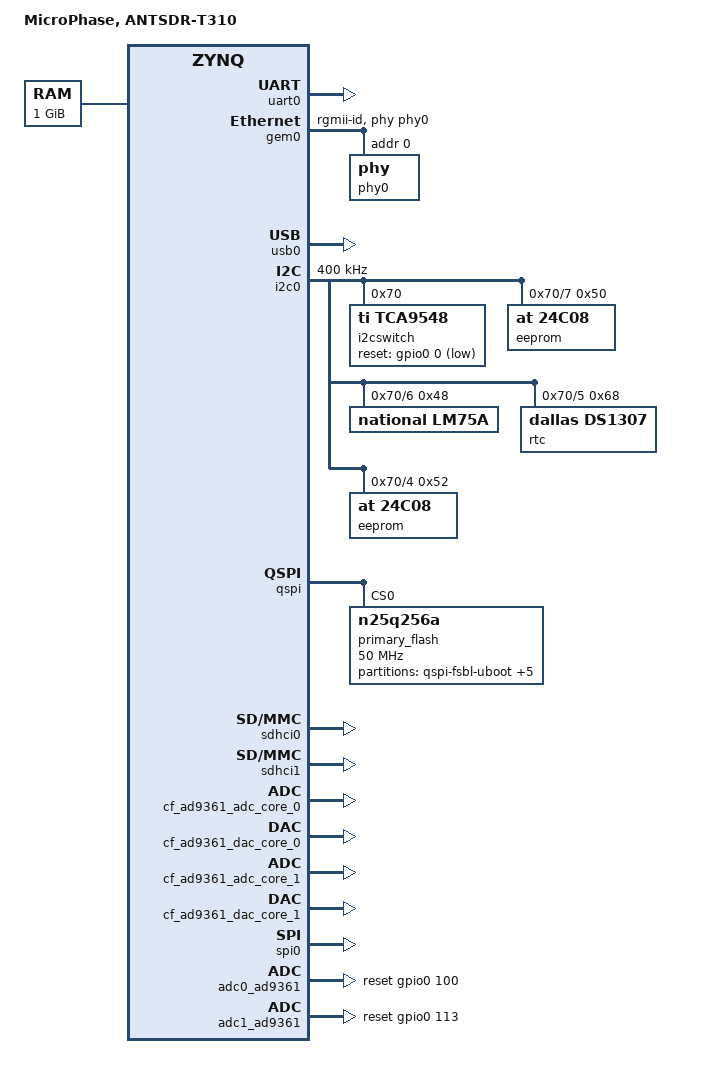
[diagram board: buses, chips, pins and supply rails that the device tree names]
// SPDX-License-Identifier: GPL-2.0
/*
 * Analog Devices AD-FMCOMMS5-EBZ
 * https://wiki.analog.com/resources/eval/user-guides/ad-fmcomms5-ebz
 *
 * hdl_project: <fmcomms5/zc706>
 * board_revision: <>
 *
 * Copyright (C) 2014-2020 Analog Devices Inc.
 */
/dts-v1/;

#include "zynq.dtsi"
#include <dt-bindings/interrupt-controller/irq.h>
#include <dt-bindings/input/input.h>
#include <dt-bindings/gpio/gpio.h>

#define AD9361_EXT_BAND_CTL_SHORTHANDS
#include <dt-bindings/iio/adc/adi,ad9361.h>

/ {
	model = "MicroPhase, ANTSDR-T310";
	memory {
		device_type = "memory";
		reg = <0x00000000 0x40000000>;
	};
	
	aliases {
		ethernet0 = &gem0;
		serial0 = &uart1;
		spi0 = &qspi;
		mmc0 = &sdhci0;
		mmc1 = &sdhci1;
	};

	chosen {
		stdout-path = "/amba@0/uart@E0001000";
	};

	clocks {
		xo_40mhz_fixed_clk: clock@0 {
			#clock-cells = <0>;
			compatible = "adjustable-clock";
			clock-frequency = <40000000>;
			clock-accuracy = <200000>; /* 200 ppm (ppb) */
			clock-output-names = "XO_40MHz";
		};

		usb_ulpi_fixed_clk: clock@2 {
			#clock-cells = <0>;
			compatible = "fixed-clock";
			clock-frequency = <24000000>;
			clock-output-names = "24MHz";
		};
	};
};

&uart0 {
	status = "okay";
};


&gem0 {
	status = "okay";
	phy-handle = <&phy0>;
	phy-mode = "rgmii-id";

	phy0: phy@0 {
		device_type = "ethernet-phy";
		reg = <0x0>;
		marvell,reg-init = <3 16 0xff00 0x1e 3 17 0xfff0 0x00>;
	};
};


&usb0 {
	status = "okay";
	xlnx,phy-reset-gpio = <&gpio0 8 GPIO_ACTIVE_LOW>;
};


&i2c0 {
	status = "okay";
	clock-frequency = <400000>;
	i2cswitch@70 { /* u34 */
		compatible = "ti,tca9548";
		#address-cells = <1>;
		#size-cells = <0>;
		reg = <0x70>;
		reset-gpios =  <&gpio0 0 GPIO_ACTIVE_LOW>;
		i2c@7 { /* i2c mw 74 0 1 */
			#address-cells = <1>;
			#size-cells = <0>;
			reg = <7>;
			eeprom@50 { /* u23 */
				compatible = "at,24c08";
				reg = <0x50>;
			};
		};
		i2c@6 {
			#address-cells = <1>;
			#size-cells = <0>;
			reg = <6>;
			lm75a: lm75a@48 { 
				compatible = "national,lm75a";
				reg = <0x48>;
};

		};
		i2c@5 { /* i2c mw 74 0 4 */
			#address-cells = <1>;
			#size-cells = <0>;
			reg = <5>;
			rtc: rtc@68 { /* USER SI570 - u42 */
				compatible = "dallas,ds1307";
				reg = <0x68>;
			};
		};

		i2c@4 { /* i2c mw 74 0 1 */
			#address-cells = <1>;
			#size-cells = <0>;
			reg = <4>;
			eeprom@52 { /* u23 */
				compatible = "at,24c08";
				reg = <0x52>;
			};
		};
	};

};


&qspi {
	status = "okay";
	is-dual = <0>;
	num-cs = <1>;
	primary_flash: ps7-qspi@0 {
		#address-cells = <1>;
		#size-cells = <1>;
		spi-tx-bus-width = <1>;
		spi-rx-bus-width = <4>;
		compatible = "n25q256a", "jedec,spi-nor"; /* same as S25FL256 */
		reg = <0x0>;
		spi-max-frequency = <50000000>;
		partition@qspi-fsbl-uboot {
			label = "qspi-fsbl-uboot";
			reg = <0x0 0xE0000>; /* 896k */
		};
		partition@qspi-uboot-env {
			label = "qspi-uboot-env";
			reg = <0xE0000 0x20000>; /* 128k */
		};
		partition@qspi-linux {
			label = "qspi-linux";
			reg = <0x100000 0x500000>; /* 5M */
		};
		partition@qspi-device-tree {
			label = "qspi-device-tree";
			reg = <0x600000 0x20000>; /* 128k */
		};
		partition@qspi-rootfs {
			label = "qspi-rootfs";
			reg = <0x620000 0xCE0000>; /* 12875k */
		};
		partition@qspi-bitstream {
			label = "qspi-bitstream";
			reg = <0x1300000 0xD00000>; /* 13 M */
		};
	};
};

&sdhci0 {
	status = "okay";
	disable-wp;
};

&sdhci1 {
	status = "okay";
	disable-wp;
};

&amba {
	rx_dma: dma@7c400000 {
		compatible = "adi,axi-dmac-1.00.a";
		reg = <0x7c400000 0x10000>;
		#dma-cells = <1>;
		interrupts = <0 57 IRQ_TYPE_LEVEL_HIGH>;
		clocks = <&clkc 16>;

		adi,channels {
			#size-cells = <0>;
			#address-cells = <1>;

			dma-channel@0 {
				reg = <0>;
				adi,source-bus-width = <128>;
				adi,source-bus-type = <2>;
				adi,destination-bus-width = <64>;
				adi,destination-bus-type = <0>;
			};
		};
	};

	tx_dma: dma@7c420000 {
		compatible = "adi,axi-dmac-1.00.a";
		reg = <0x7c420000 0x10000>;
		#dma-cells = <1>;
		interrupts = <0 56 IRQ_TYPE_LEVEL_HIGH>;
		clocks = <&clkc 16>;

		adi,channels {
			#size-cells = <0>;
			#address-cells = <1>;

			dma-channel@0 {
				reg = <0>;
				adi,source-bus-width = <64>;
				adi,source-bus-type = <0>;
				adi,destination-bus-width = <128>;
				adi,destination-bus-type = <2>;
			};
		};
	};

	/* Master HDL core with DMA */
	cf_ad9361_adc_core_0: cf-ad9361-A@79020000 {
		compatible = "adi,axi-ad9361-6.00.a";
		reg = <0x79020000 0x6000>;
		dmas = <&rx_dma 0>;
		dma-names = "rx";
		spibus-connected = <&adc0_ad9361>;
		slavecore-reg = <0x79040000 0x6000>;
	};

	cf_ad9361_dac_core_0: cf-ad9361-dds-core-lpc@79024000 {
		compatible = "adi,axi-ad9361x2-dds-6.00.a";
		reg = <0x79024000 0x1000>;
		clocks = <&adc0_ad9361 13>;
		clock-names = "sampl_clk";
		dmas = <&tx_dma 0>;
		dma-names = "tx";
		slavecore-reg = <0x79044000 0x1000>;
	};


	/* Slave HDL core without DMA */
	cf_ad9361_adc_core_1: cf-ad9361-B@79040000 {
		compatible = "adi,axi-ad9361-6.00.a";
		reg = <0x79040000 0x6000>;
		spibus-connected = <&adc1_ad9361>;
	};

	cf_ad9361_dac_core_1: cf-ad9361-dds-core-B@79044000 {
		compatible = "adi,axi-ad9361x2-dds-6.00.a";
		reg = <0x79044000 0x1000>;
		clocks = <&adc1_ad9361 13>;
		clock-names = "sampl_clk";
		mastercore-reg = <0x79024000 0x1000>;
	};

	mwipcore@43c00000 {
		compatible = "mathworks,mwipcore-axi4lite-v1.00";
		reg = <0x43c00000 0xffff>;
	};
};

&spi0 {
	status = "okay";
};

#define fmc_spi spi0

#include "zynq-t310-fmcomms5.dtsi"

&adc0_ad9361 {
	reset-gpios = <&gpio0 100 0>;
	sync-gpios = <&gpio0 99 0>;
	cal-sw1-gpios = <&gpio0 107 0>;
	cal-sw2-gpios = <&gpio0 108 0>;
};

&adc1_ad9361 {
	reset-gpios = <&gpio0 113 0>;
};
